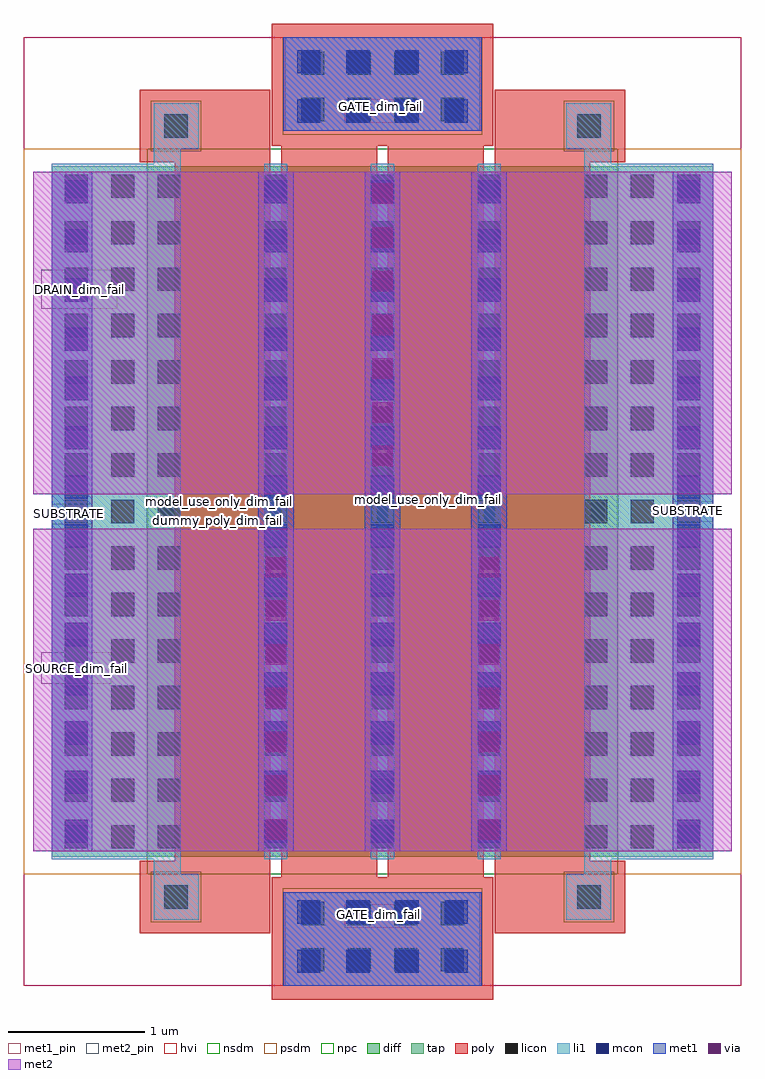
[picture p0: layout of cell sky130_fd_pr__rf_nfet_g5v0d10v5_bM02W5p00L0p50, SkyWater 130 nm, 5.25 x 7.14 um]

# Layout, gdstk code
import gdstk
lib = gdstk.Library(unit=1e-6, precision=1e-09)
def R(c, l, rs):  # rectangles x0, y0, x1, y1
    for r in rs: c.add(gdstk.rectangle(r[:2], r[2:], *l))
def A(c, l, x, y, w, h, nx, ny, dx, dy):  # array of equal rectangles
    R(c, l, [(x+i*dx, y+j*dy, x+i*dx+w, y+j*dy+h) for i in range(nx) for j in range(ny)])
def P(c, l, *ps):  # polygons
    for p in ps: c.add(gdstk.Polygon(p, *l))
diff = (65, 20)
tap = (65, 44)
poly = (66, 20)
licon = (66, 44)
li1 = (67, 20)
mcon = (67, 44)
met1_pin = (68, 16)
met1 = (68, 20)
via = (68, 44)
met2_pin = (69, 16)
met2 = (69, 20)
hvi = (75, 20)
nsdm = (93, 44)
psdm = (94, 20)
npc = (95, 20)

sky130_fd_pr__rf_nfet_g5 = lib.new_cell('sky130_fd_pr__rf_nfet_g5v0d10v5_bM02W5p00L0p50')
R(sky130_fd_pr__rf_nfet_g5, diff, [(0.905,0.945,4.345,5.995)])
R(sky130_fd_pr__rf_nfet_g5, tap, [(0.205,0.945,0.905,5.995), (4.345,0.945,5.045,5.995)])
P(sky130_fd_pr__rf_nfet_g5, poly, [(0.85,0.385),(0.85,0.915),(1.105,0.915),(1.105,6.025),(0.85,6.025),(0.85,6.555),(1.805,6.555),(1.805,0.385)],
  [(3.445,0.385),(3.445,6.555),(4.4,6.555),(4.4,6.025),(4.145,6.025),(4.145,0.915),(4.4,0.915),(4.4,0.385)],
  [(1.815,-0.1),(1.815,0.795),(1.885,0.795),(1.885,6.145),(2.585,6.145),(2.585,0.795),(2.665,0.795),(2.665,6.145),(1.815,6.145),(1.815,7.04),(3.435,7.04),(3.435,6.145),(3.365,6.145),(3.365,0.795),(3.435,0.795),(3.435,-0.1)])
A(sky130_fd_pr__rf_nfet_g5, licon, 2.03, 0.105, 0.17, 0.17, 4, 2, 0.34, 0.34)
A(sky130_fd_pr__rf_nfet_g5, licon, 0.3, 1.005, 0.17, 0.17, 3, 15, 0.34, 0.34)
A(sky130_fd_pr__rf_nfet_g5, licon, 1.76, 1.005, 0.17, 0.17, 4, 15, 0.78, 0.34)
A(sky130_fd_pr__rf_nfet_g5, licon, 4.44, 1.005, 0.17, 0.17, 1, 15, 0, 0.34)
A(sky130_fd_pr__rf_nfet_g5, licon, 4.78, 1.005, 0.17, 0.17, 1, 15, 0, 0.34)
A(sky130_fd_pr__rf_nfet_g5, licon, 2.03, 6.325, 0.17, 0.17, 4, 2, 0.34, 0.34)
R(sky130_fd_pr__rf_nfet_g5, licon, [(1.03,0.565,1.2,0.735), (4.05,0.565,4.22,0.735), (1.03,6.205,1.2,6.375), (4.05,6.205,4.22,6.375)])
A(sky130_fd_pr__rf_nfet_g5, li1, 1.76, 0.925, 0.17, 5.09, 3, 1, 0.78, 0)
A(sky130_fd_pr__rf_nfet_g5, li1, 1.76, 2.125, 0.17, 2.69, 3, 1, 0.78, 0)
R(sky130_fd_pr__rf_nfet_g5, li1, [(1.915,0,3.335,0.685), (0.95,0.485,1.28,0.815), (3.97,0.485,4.3,0.815), (0.95,0.815,1.15,0.925), (4.1,0.815,4.3,0.925), (0.205,0.925,1.15,6.015), (4.1,0.925,5.045,6.015), (0.95,6.015,1.15,6.125), (4.1,6.015,4.3,6.125), (0.95,6.125,1.28,6.455), (3.97,6.125,4.3,6.455), (1.915,6.255,3.335,6.94)])
A(sky130_fd_pr__rf_nfet_g5, mcon, 2, 0.095, 0.17, 0.17, 4, 2, 0.36, 0.36)
A(sky130_fd_pr__rf_nfet_g5, mcon, 0.3, 1.045, 0.17, 0.17, 1, 14, 0, 0.36)
A(sky130_fd_pr__rf_nfet_g5, mcon, 1.76, 1.045, 0.17, 0.17, 3, 14, 0.78, 0.36)
A(sky130_fd_pr__rf_nfet_g5, mcon, 4.78, 1.045, 0.17, 0.17, 1, 14, 0, 0.36)
A(sky130_fd_pr__rf_nfet_g5, mcon, 2, 6.315, 0.17, 0.17, 4, 2, 0.36, 0.36)
R(sky130_fd_pr__rf_nfet_g5, met1_pin, [(2.35,0.425,2.84,0.595), (0.205,3.375,0.5,3.525), (4.75,3.395,5.045,3.545), (2.35,6.315,2.84,6.485)])
A(sky130_fd_pr__rf_nfet_g5, met1, 1.715, 0.985, 0.26, 4.97, 3, 1, 0.78, 0)
R(sky130_fd_pr__rf_nfet_g5, met1, [(1.9,0,3.35,0.685), (0.205,0.985,0.5,5.955), (1.715,0.985,1.975,3.225), (3.275,0.985,3.535,3.225), (4.75,0.985,5.045,5.955), (2.495,3.715,2.755,5.955), (1.9,6.255,3.35,6.94)])
A(sky130_fd_pr__rf_nfet_g5, via, 1.77, 1.07, 0.15, 0.15, 1, 7, 0, 0.32)
A(sky130_fd_pr__rf_nfet_g5, via, 3.33, 1.07, 0.15, 0.15, 1, 7, 0, 0.32)
A(sky130_fd_pr__rf_nfet_g5, via, 2.55, 3.8, 0.15, 0.15, 1, 7, 0, 0.32)
R(sky130_fd_pr__rf_nfet_g5, met2_pin, [(0.13,2.21,0.64,2.44), (0.13,4.955,0.685,5.24)])
R(sky130_fd_pr__rf_nfet_g5, met2, [(0.07,0.985,5.18,3.345), (1.715,0.985,1.975,3.225), (3.275,0.985,3.535,3.225), (0.07,3.595,5.18,5.955), (2.495,3.715,2.755,5.955)])
R(sky130_fd_pr__rf_nfet_g5, hvi, [(0,0,5.25,6.94)])
R(sky130_fd_pr__rf_nfet_g5, nsdm, [(0.905,0.815,4.345,6.125)])
R(sky130_fd_pr__rf_nfet_g5, psdm, [(0,0.815,0.905,6.125), (4.345,0.815,5.25,6.125)])
R(sky130_fd_pr__rf_nfet_g5, npc, [(1.895,0,3.355,0.715), (0.93,0.465,1.3,0.835), (3.95,0.465,4.32,0.835), (0.93,6.105,1.3,6.475), (3.95,6.105,4.32,6.475), (1.895,6.225,3.355,6.94)])
sky130_fd_pr__rf_nfet_g5.add(gdstk.Label('GATE_dim_fail', (2.595,0.525), layer=68, texttype=5))
sky130_fd_pr__rf_nfet_g5.add(gdstk.Label('GATE_dim_fail', (2.61,6.43), layer=68, texttype=5))
sky130_fd_pr__rf_nfet_g5.add(gdstk.Label('SUBSTRATE', (4.86,3.475), layer=68, texttype=16))
sky130_fd_pr__rf_nfet_g5.add(gdstk.Label('SUBSTRATE', (0.335,3.455), layer=68, texttype=16))
sky130_fd_pr__rf_nfet_g5.add(gdstk.Label('model_use_only_dim_fail', (2.96,3.555), layer=66, texttype=83))
sky130_fd_pr__rf_nfet_g5.add(gdstk.Label('model_use_only_dim_fail', (2.215,3.54), layer=66, texttype=83))
sky130_fd_pr__rf_nfet_g5.add(gdstk.Label('model_use_only_dim_fail', (3.75,3.555), layer=66, texttype=83))
sky130_fd_pr__rf_nfet_g5.add(gdstk.Label('model_use_only_dim_fail', (1.435,3.54), layer=66, texttype=83))
sky130_fd_pr__rf_nfet_g5.add(gdstk.Label('S_dim_fail', (1.845,3.47), layer=83, texttype=44))
sky130_fd_pr__rf_nfet_g5.add(gdstk.Label('S_dim_fail', (1.845,3.47), layer=83, texttype=44))
sky130_fd_pr__rf_nfet_g5.add(gdstk.Label('S_dim_fail', (2.625,3.47), layer=83, texttype=44))
sky130_fd_pr__rf_nfet_g5.add(gdstk.Label('D_dim_fail', (2.625,3.47), layer=83, texttype=44))
sky130_fd_pr__rf_nfet_g5.add(gdstk.Label('S_dim_fail', (3.405,3.47), layer=83, texttype=44))
sky130_fd_pr__rf_nfet_g5.add(gdstk.Label('S_dim_fail', (3.405,3.47), layer=83, texttype=44))
sky130_fd_pr__rf_nfet_g5.add(gdstk.Label('dummy_poly_dim_fail', (1.415,3.405), layer=83, texttype=44))
sky130_fd_pr__rf_nfet_g5.add(gdstk.Label('dummy_poly_dim_fail', (3.755,3.535), layer=83, texttype=44))
sky130_fd_pr__rf_nfet_g5.add(gdstk.Label('SOURCE_dim_fail', (0.385,2.325), layer=69, texttype=5))
sky130_fd_pr__rf_nfet_g5.add(gdstk.Label('DRAIN_dim_fail', (0.41,5.095), layer=69, texttype=5))

lib.write_gds('sky130_fd_pr__rf_nfet_g5v0d10v5_bM02W5p00L0p50.gds')
